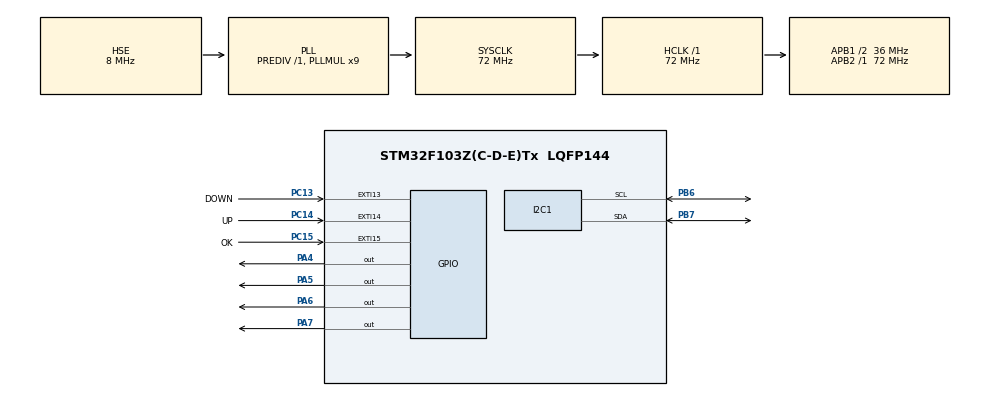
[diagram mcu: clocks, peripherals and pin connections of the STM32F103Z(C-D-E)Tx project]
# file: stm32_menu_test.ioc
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I2C1.I2C_Mode=I2C_Fast
Mcu.Family=STM32F1
Mcu.Name=STM32F103Z(C-D-E)Tx
Mcu.Package=LQFP144
NVIC.EXTI15_10_IRQn=true\:0\:0\:false\:false\:true\:true\:true\:true
NVIC.PriorityGroup=NVIC_PRIORITYGROUP_4
NVIC.TIM1_BRK_IRQn=true\:0\:0\:false\:false\:true\:true\:true\:true
NVIC.TIM1_CC_IRQn=true\:0\:0\:false\:false\:true\:true\:true\:true
NVIC.TIM1_TRG_COM_IRQn=true\:0\:0\:false\:false\:true\:true\:true\:true
NVIC.TIM1_UP_IRQn=true\:0\:0\:false\:false\:true\:true\:true\:true
OSC_IN.Mode=HSE-External-Oscillator
OSC_IN.Signal=RCC_OSC_IN
OSC_OUT.Mode=HSE-External-Oscillator
OSC_OUT.Signal=RCC_OSC_OUT
PA4.Signal=GPIO_Output
PA5.Signal=GPIO_Output
PA6.Signal=GPIO_Output
PA7.Signal=GPIO_Output
PB6.Mode=I2C
PB6.Signal=I2C1_SCL
PB7.Mode=I2C
PB7.Signal=I2C1_SDA
PC13-TAMPER-RTC.GPIO_Label=DOWN
PC13-TAMPER-RTC.GPIO_ModeDefaultEXTI=GPIO_MODE_IT_RISING
PC13-TAMPER-RTC.GPIO_PuPd=GPIO_PULLDOWN
PC13-TAMPER-RTC.Signal=GPXTI13
PC14-OSC32_IN.GPIO_Label=UP
PC14-OSC32_IN.GPIO_ModeDefaultEXTI=GPIO_MODE_IT_RISING
PC14-OSC32_IN.GPIO_PuPd=GPIO_PULLDOWN
PC14-OSC32_IN.Signal=GPXTI14
PC15-OSC32_OUT.GPIO_Label=OK
PC15-OSC32_OUT.GPIO_ModeDefaultEXTI=GPIO_MODE_IT_RISING
PC15-OSC32_OUT.GPIO_PuPd=GPIO_PULLDOWN
PC15-OSC32_OUT.Signal=GPXTI15
ProjectManager.HeapSize=0x200
ProjectManager.StackSize=0x400
ProjectManager.TargetToolchain=STM32CubeIDE
RCC.AHBFreq_Value=72000000
RCC.APB1CLKDivider=RCC_HCLK_DIV2
RCC.APB1Freq_Value=36000000
RCC.APB1TimFreq_Value=72000000
RCC.APB2Freq_Value=72000000
RCC.APB2TimFreq_Value=72000000
RCC.HCLKFreq_Value=72000000
RCC.PLLMUL=RCC_PLL_MUL9
RCC.PLLSourceVirtual=RCC_PLLSOURCE_HSE
RCC.SYSCLKFreq_VALUE=72000000
RCC.SYSCLKSource=RCC_SYSCLKSOURCE_PLLCLK
RCC.USBFreq_Value=72000000
VP_TIM1_VS_ClockSourceINT.Mode=Internal
board=custom

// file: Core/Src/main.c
/* USER CODE BEGIN Header */
/**
  ******************************************************************************
  * @file           : main.c
  * @brief          : Main program body
  ******************************************************************************
  * @attention
  *
  * Copyright (c) 2023 STMicroelectronics.
  * All rights reserved.
  *
  * This software is licensed under terms that can be found in the LICENSE file
  * in the root directory of this software component.
  * If no LICENSE file comes with this software, it is provided AS-IS.
  *
  ******************************************************************************
  */
/* USER CODE END Header */
#include "main.h"

/* USER CODE BEGIN Includes */

#include "ssd1306.h"
#include "fonts.h"
#include "test.h"
#include "string.h"

/* USER CODE END Includes */

I2C_HandleTypeDef hi2c1;

TIM_HandleTypeDef htim1;

/* USER CODE BEGIN PV */
uint32_t previousMillis = 0;
uint32_t currentMillis = 0;
uint32_t counterOutside = 0; //For testing only
uint32_t counterInside = 0; //For testing only

uint8_t cursor = 1;
uint8_t okState = 0;
uint8_t okLastState = 1;

uint8_t upFlag = 0;
uint8_t downFlag = 0;

float Kp = 0.006;
float Ki = 0.06;
float Kd = 0.0006;
int readLine = 4500;

uint8_t kpState = 0;
uint8_t kiState = 0;
uint8_t kdState = 0;

uint8_t Kp_buffer[20];
uint8_t Ki_buffer[20];
uint8_t Kd_buffer[20];
uint8_t readLine_buffer[20];

/* USER CODE END PV */

void SystemClock_Config(void);
static void MX_GPIO_Init(void);
static void MX_TIM1_Init(void);
static void MX_I2C1_Init(void);

int main(void)
{

  /* MCU Configuration--------------------------------------------------------*/

  /* Reset of all peripherals, Initializes the Flash interface and the Systick. */
  HAL_Init();

  /* Configure the system clock */
  SystemClock_Config();

  /* Initialize all configured peripherals */
  MX_GPIO_Init();
  MX_TIM1_Init();
  MX_I2C1_Init();
  /* USER CODE BEGIN 2 */
  SSD1306_Init ();

  /* USER CODE END 2 */

  /* Infinite loop */
  /* USER CODE BEGIN WHILE */
  while (1)
  {
	  if(cursor >3){cursor = 3;}
	  if(cursor <1){cursor = 1;}
	  SSD1306_Fill(0);
	  SSD1306_GotoXY (4, 16);
	  sprintf(Kp_buffer, "Kp: %0.3f", Kp);
	  if(okState == 1 && cursor == 1){
		  SSD1306_DrawFilledRectangle(1, 16-2, 80, 12, 1);
		  SSD1306_Puts (Kp_buffer, &Font_7x10, 0);
	  }
	  else if(okState == 0 && cursor == 1){
		  SSD1306_Puts (Kp_buffer, &Font_7x10, 1);
		  SSD1306_DrawRectangle(1, 16-2, 80, 12, 1);
	  }
	  else{
		  SSD1306_Puts (Kp_buffer, &Font_7x10, 1);
		  SSD1306_DrawRectangle(1, 16-2, 80, 12, 0);
	  }

	  SSD1306_GotoXY (4, 30);
	  sprintf(Ki_buffer, "Ki: %0.3f", Ki);
	  if(okState == 1 && cursor == 2){
		  SSD1306_DrawFilledRectangle(1, 30-2, 80, 12, 1);
		  SSD1306_Puts (Ki_buffer, &Font_7x10, 0);
	  }
	  else if(okState == 0 && cursor == 2){
		  SSD1306_Puts (Ki_buffer, &Font_7x10, 1);
		  SSD1306_DrawRectangle(1, 30-2, 80, 12, 1);
	  }
	  else{
		  SSD1306_Puts (Ki_buffer, &Font_7x10, 1);
		  SSD1306_DrawRectangle(1, 30-2, 80, 12, 0);
	  }

	  SSD1306_GotoXY (4, 44);
	  sprintf(Kd_buffer, "Kd: %0.3f", Kd);
	  if(okState == 1 && cursor == 3){
		  SSD1306_DrawFilledRectangle(1, 44-2, 80, 12, 1);
		  SSD1306_Puts (Kd_buffer, &Font_7x10, 0);
	  }
	  else if(okState == 0 && cursor == 3){

		  SSD1306_Puts (Kd_buffer, &Font_7x10, 1);
		  SSD1306_DrawRectangle(1, 44-2, 80, 12, 1);
	  }
	  else{

		  SSD1306_Puts (Kd_buffer, &Font_7x10, 1);
		  SSD1306_DrawRectangle(1, 44-2, 80, 12, 0);
	  }

	  //ReadLine
	  SSD1306_GotoXY (3, 1);
	  sprintf(readLine_buffer, "ReadLine: %d", readLine);
	  SSD1306_Puts (readLine_buffer, &Font_7x10, 1);

	  //right side deisgn
	  SSD1306_DrawTriangle(115, 1, 110, 14, 120, 14, 1);
	  if(upFlag == 1){
		  SSD1306_DrawFilledTriangle(115, 1, 110, 14, 120, 14, 1);
		  upFlag = 0;
	  }

	  SSD1306_DrawTriangle(115, 14+50, 110, 1+50, 120, 1+50, 1);
	  if(downFlag == 1){
		  SSD1306_DrawFilledTriangle(115, 14+50, 110, 1+50, 120, 1+50, 1);
		  downFlag = 0;
	  }

	  SSD1306_DrawCircle(115, 32, 5, 1);
	  if(okState == 1){
		  SSD1306_DrawFilledCircle(115, 32, 5, 1);
	  }

	  SSD1306_UpdateScreen();

    /* USER CODE END WHILE */

  }
}

void SystemClock_Config(void)
{
  RCC_OscInitTypeDef RCC_OscInitStruct = {0};
  RCC_ClkInitTypeDef RCC_ClkInitStruct = {0};

  /** Initializes the RCC Oscillators according to the specified parameters
  * in the RCC_OscInitTypeDef structure.
  */
  RCC_OscInitStruct.OscillatorType = RCC_OSCILLATORTYPE_HSE;
  RCC_OscInitStruct.HSEState = RCC_HSE_ON;
  RCC_OscInitStruct.HSEPredivValue = RCC_HSE_PREDIV_DIV1;
  RCC_OscInitStruct.HSIState = RCC_HSI_ON;
  RCC_OscInitStruct.PLL.PLLState = RCC_PLL_ON;
  RCC_OscInitStruct.PLL.PLLSource = RCC_PLLSOURCE_HSE;
  RCC_OscInitStruct.PLL.PLLMUL = RCC_PLL_MUL9;
  if (HAL_RCC_OscConfig(&RCC_OscInitStruct) != HAL_OK)
  {
    Error_Handler();
  }

  /** Initializes the CPU, AHB and APB buses clocks
  */
  RCC_ClkInitStruct.ClockType = RCC_CLOCKTYPE_HCLK|RCC_CLOCKTYPE_SYSCLK
                              |RCC_CLOCKTYPE_PCLK1|RCC_CLOCKTYPE_PCLK2;
  RCC_ClkInitStruct.SYSCLKSource = RCC_SYSCLKSOURCE_PLLCLK;
  RCC_ClkInitStruct.AHBCLKDivider = RCC_SYSCLK_DIV1;
  RCC_ClkInitStruct.APB1CLKDivider = RCC_HCLK_DIV2;
  RCC_ClkInitStruct.APB2CLKDivider = RCC_HCLK_DIV1;

  if (HAL_RCC_ClockConfig(&RCC_ClkInitStruct, FLASH_LATENCY_2) != HAL_OK)
  {
    Error_Handler();
  }
}

static void MX_I2C1_Init(void)
{

  hi2c1.Instance = I2C1;
  hi2c1.Init.ClockSpeed = 400000;
  hi2c1.Init.DutyCycle = I2C_DUTYCYCLE_2;
  hi2c1.Init.OwnAddress1 = 0;
  hi2c1.Init.AddressingMode = I2C_ADDRESSINGMODE_7BIT;
  hi2c1.Init.DualAddressMode = I2C_DUALADDRESS_DISABLE;
  hi2c1.Init.OwnAddress2 = 0;
  hi2c1.Init.GeneralCallMode = I2C_GENERALCALL_DISABLE;
  hi2c1.Init.NoStretchMode = I2C_NOSTRETCH_DISABLE;
  if (HAL_I2C_Init(&hi2c1) != HAL_OK)
  {
    Error_Handler();
  }

}

static void MX_TIM1_Init(void)
{

  TIM_ClockConfigTypeDef sClockSourceConfig = {0};
  TIM_MasterConfigTypeDef sMasterConfig = {0};

  htim1.Instance = TIM1;
  htim1.Init.Prescaler = 0;
  htim1.Init.CounterMode = TIM_COUNTERMODE_UP;
  htim1.Init.Period = 65535;
  htim1.Init.ClockDivision = TIM_CLOCKDIVISION_DIV1;
  htim1.Init.RepetitionCounter = 0;
  htim1.Init.AutoReloadPreload = TIM_AUTORELOAD_PRELOAD_DISABLE;
  if (HAL_TIM_Base_Init(&htim1) != HAL_OK)
  {
    Error_Handler();
  }
  sClockSourceConfig.ClockSource = TIM_CLOCKSOURCE_INTERNAL;
  if (HAL_TIM_ConfigClockSource(&htim1, &sClockSourceConfig) != HAL_OK)
  {
    Error_Handler();
  }
  sMasterConfig.MasterOutputTrigger = TIM_TRGO_RESET;
  sMasterConfig.MasterSlaveMode = TIM_MASTERSLAVEMODE_DISABLE;
  if (HAL_TIMEx_MasterConfigSynchronization(&htim1, &sMasterConfig) != HAL_OK)
  {
    Error_Handler();
  }

}

static void MX_GPIO_Init(void)
{
  GPIO_InitTypeDef GPIO_InitStruct = {0};

  /* GPIO Ports Clock Enable */
  __HAL_RCC_GPIOC_CLK_ENABLE();
  __HAL_RCC_GPIOA_CLK_ENABLE();
  __HAL_RCC_GPIOB_CLK_ENABLE();

  /*Configure GPIO pin Output Level */
  HAL_GPIO_WritePin(GPIOA, GPIO_PIN_4|GPIO_PIN_5|GPIO_PIN_6|GPIO_PIN_7, GPIO_PIN_RESET);

  /*Configure GPIO pins : DOWN_Pin UP_Pin OK_Pin */
  GPIO_InitStruct.Pin = DOWN_Pin|UP_Pin|OK_Pin;
  GPIO_InitStruct.Mode = GPIO_MODE_IT_RISING;
  GPIO_InitStruct.Pull = GPIO_PULLDOWN;
  HAL_GPIO_Init(GPIOC, &GPIO_InitStruct);

  /*Configure GPIO pins : PA4 PA5 PA6 PA7 */
  GPIO_InitStruct.Pin = GPIO_PIN_4|GPIO_PIN_5|GPIO_PIN_6|GPIO_PIN_7;
  GPIO_InitStruct.Mode = GPIO_MODE_OUTPUT_PP;
  GPIO_InitStruct.Pull = GPIO_NOPULL;
  GPIO_InitStruct.Speed = GPIO_SPEED_FREQ_LOW;
  HAL_GPIO_Init(GPIOA, &GPIO_InitStruct);

  /* EXTI interrupt init*/
  HAL_NVIC_SetPriority(EXTI15_10_IRQn, 0, 0);
  HAL_NVIC_EnableIRQ(EXTI15_10_IRQn);

}

/* USER CODE BEGIN 4 */

void HAL_GPIO_EXTI_Callback(uint16_t GPIO_Pin)
{
  currentMillis = HAL_GetTick();
  if (GPIO_Pin == DOWN_Pin && (currentMillis - previousMillis > 80))
  {
    HAL_GPIO_TogglePin(GPIOA, GPIO_PIN_6);
    previousMillis = currentMillis;
    if(okState == 1 && cursor == 1){Kp -= 0.001;}
    else if(okState == 1 && cursor == 2){Ki -= 0.001;}
    else if(okState == 1 && cursor == 3){Kd -= 0.001;}
    else{cursor += 1;}
    downFlag = 1;

  }
  if (GPIO_Pin == UP_Pin && (currentMillis - previousMillis > 80))
  {
    HAL_GPIO_TogglePin(GPIOA, GPIO_PIN_5);
    previousMillis = currentMillis;

    if(okState == 1 && cursor == 1){Kp += 0.001;}
    else if(okState == 1 && cursor == 2){Ki += 0.001;}
    else if(okState == 1 && cursor == 3){Kd += 0.001;}
    else{cursor -= 1;}
    upFlag = 1;

  }
  if (GPIO_Pin == OK_Pin && (currentMillis - previousMillis > 80))
  {
    HAL_GPIO_TogglePin(GPIOA, GPIO_PIN_4);
    previousMillis = currentMillis;
    okLastState = okState;
    if(okLastState == 0){
    	okState = 1;

    }
    if(okLastState == 1){
    	okState = 0;

    }

  }

}

/* USER CODE END 4 */

void Error_Handler(void)
{
  __disable_irq();
  while (1)
  {
  }
}
